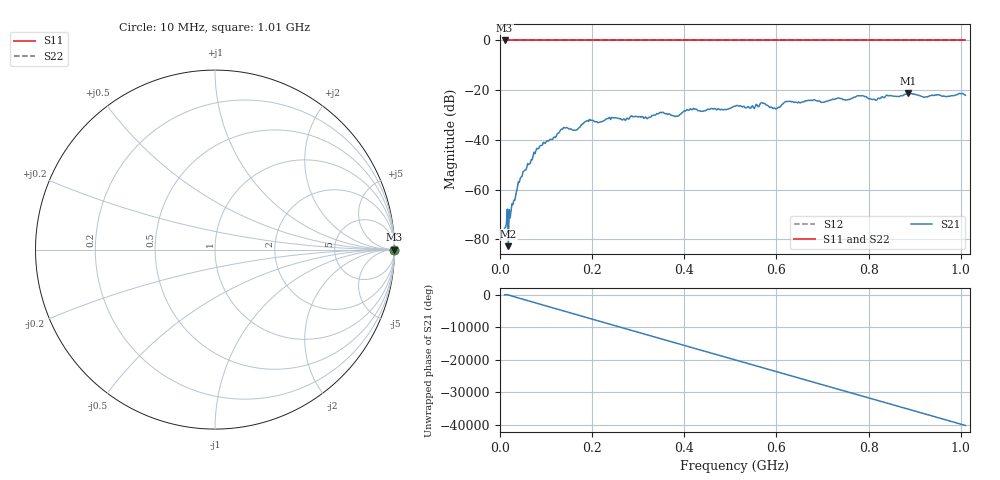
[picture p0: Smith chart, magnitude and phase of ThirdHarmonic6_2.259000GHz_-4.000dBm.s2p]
! 8/17/2025 2:46:20 AM
! C:\ANRITSUVNA\TEMP\TEMP.S2P
! CHANNEL.1
! TR.MEASUREMENT
! RAW.DATA
! RF.CORRECTION.OFF
! AVERAGING.OFF
! IF.BANDWIDTH: 5KHZ
! SWEEPTYPE:  FREQ.SWEEP(Linear)
! Reference Plane Port Info
! PORT:  PORT1  PORT2
! DISTANCE:  0  m  0  m
! TIME:  0  s  0  s
! PHASE.OFFSET:  0  deg.  0  deg.
! LOSS:  0  dB  0  dB
! REF.LOSS:  0  dB  0  dB
! REF.FREQ:  0  Hz  0  Hz
! Power Info
! POWER:  -20  dBm  -20  dBm
! EFF.POWER:  -20  dBm  -20  dBm
! SOURCE.ATTEN:  0  dB  0  dB
! TEST.ATTEN:  0  dB  0  dB
# GHZ S RI R 50.0
! FREQ.GHZ  S11RE  S11IM  S21RE  S21IM  S12RE  S12IM  S22RE  S22IM
!; PortSelection: Port_12
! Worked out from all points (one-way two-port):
!   501 points, 10 MHz to 1.01 GHz, reference 50 ohm
!   highest |S21| = -21.26 dB at 886 MHz (marker M1); lowest = -82.8 dB at 18 MHz (marker M2)
!   lowest |S11| = 0.0 dB at 10 MHz (marker M3)
!   |S11| at or under -10 dB: nowhere
!   |S22| runs from 0.0 to 0.0 dB; largest |S21 - S12| = 1.1
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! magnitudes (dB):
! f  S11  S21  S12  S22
! 10 MHz  0.0  -75.5  0.0  0.0
! 18 MHz  0.0  -82.8  0.0  0.0
! 42 MHz  0.0  -57.0  0.0  0.0
! 78 MHz  0.0  -44.3  0.0  0.0
! 136 MHz  0.0  -35.7  0.0  0.0
! 164 MHz  0.0  -36.1  0.0  0.0
! 178 MHz  0.0  -33.7  0.0  0.0
! 192 MHz  0.0  -32.6  0.0  0.0
! 344 MHz  0.0  -29.5  0.0  0.0
! 384 MHz  0.0  -30.5  0.0  0.0
! 416 MHz  0.0  -27.8  0.0  0.0
! 510 MHz  0.0  -26.5  0.0  0.0
! 548 MHz  0.0  -26.3  0.0  0.0
! 570 MHz  0.0  -25.2  0.0  0.0
! 596 MHz  0.0  -27.1  0.0  0.0
! 622 MHz  0.0  -24.6  0.0  0.0
! 678 MHz  0.0  -24.2  0.0  0.0
! 782 MHz  0.0  -22.3  0.0  0.0
! 814 MHz  0.0  -23.8  0.0  0.0
! 844 MHz  0.0  -22.3  0.0  0.0
! 886 MHz  0.0  -21.3  0.0  0.0
! 1.01 GHz  0.0  -22.0  0.0  0.0
